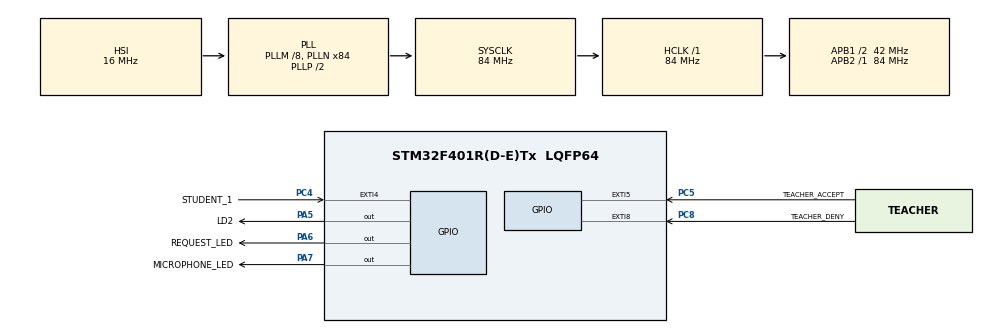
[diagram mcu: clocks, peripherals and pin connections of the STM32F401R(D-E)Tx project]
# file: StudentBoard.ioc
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Mcu.Family=STM32F4
Mcu.Name=STM32F401R(D-E)Tx
Mcu.Package=LQFP64
NVIC.EXTI4_IRQn=true\:0\:0\:false\:false\:true\:true\:true\:true
NVIC.EXTI9_5_IRQn=true\:0\:0\:false\:false\:true\:true\:true\:true
NVIC.PriorityGroup=NVIC_PRIORITYGROUP_4
PA5.GPIO_Label=LD2
PA5.GPIO_PuPd=GPIO_PULLDOWN
PA5.Signal=GPIO_Output
PA6.GPIO_Label=REQUEST_LED
PA6.Signal=GPIO_Output
PA7.GPIO_Label=MICROPHONE_LED
PA7.Signal=GPIO_Output
PC4.GPIO_Label=STUDENT_1
PC4.GPIO_PuPd=GPIO_PULLDOWN
PC4.Signal=GPXTI4
PC5.GPIO_Label=TEACHER_ACCEPT
PC5.GPIO_PuPd=GPIO_PULLDOWN
PC5.Signal=GPXTI5
PC8.GPIO_Label=TEACHER_DENY
PC8.GPIO_PuPd=GPIO_PULLDOWN
PC8.Signal=GPXTI8
ProjectManager.HeapSize=0x200
ProjectManager.StackSize=0x400
ProjectManager.TargetToolchain=STM32CubeIDE
RCC.48MHZClocksFreq_Value=42000000
RCC.AHBFreq_Value=84000000
RCC.APB1CLKDivider=RCC_HCLK_DIV2
RCC.APB1Freq_Value=42000000
RCC.APB1TimFreq_Value=84000000
RCC.APB2Freq_Value=84000000
RCC.APB2TimFreq_Value=84000000
RCC.CortexFreq_Value=84000000
RCC.HCLKFreq_Value=84000000
RCC.HSE_VALUE=25000000
RCC.HSI_VALUE=16000000
RCC.LSE_VALUE=32768
RCC.PLLM=8
RCC.PLLN=84
RCC.SYSCLKFreq_VALUE=84000000
RCC.SYSCLKSource=RCC_SYSCLKSOURCE_PLLCLK
RCC.VCOOutputFreq_Value=168000000
TIM3.AutoReloadPreload=TIM_AUTORELOAD_PRELOAD_ENABLE
TIM3.Period=1
TIM3.Prescaler=41
VP_TIM3_VS_ClockSourceINT.Mode=Internal
board=custom

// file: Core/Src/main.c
/* USER CODE BEGIN Header */
/**
  ******************************************************************************
  * @file           : main.c
  * @brief          : Main program body
  ******************************************************************************
  * @attention
  *
  * Copyright (c) 2024 STMicroelectronics.
  * All rights reserved.
  *
  * This software is licensed under terms that can be found in the LICENSE file
  * in the root directory of this software component.
  * If no LICENSE file comes with this software, it is provided AS-IS.
  *
  ******************************************************************************
  */
/* USER CODE END Header */
#include "main.h"

TIM_HandleTypeDef htim3;

/* USER CODE BEGIN PV */
int student_flag;
int response_flag;
/* USER CODE END PV */

void SystemClock_Config(void);
static void MX_GPIO_Init(void);
static void MX_TIM3_Init(void);

int main(void)
{

  /* USER CODE BEGIN 1 */
	student_flag = 0;
	response_flag = -1; // -`1 when not in use, 0/1 for deny/accept
  /* USER CODE END 1 */

  /* MCU Configuration--------------------------------------------------------*/

  /* Reset of all peripherals, Initializes the Flash interface and the Systick. */
  HAL_Init();

  /* Configure the system clock */
  SystemClock_Config();

  /* Initialize all configured peripherals */
  MX_GPIO_Init();
  MX_TIM3_Init();
  /* USER CODE BEGIN 2 */
  HAL_TIM_PWM_Start(&htim3, TIM_CHANNEL_1);

  /* USER CODE END 2 */

  /* Infinite loop */
  while (1)
  {

    /* USER CODE BEGIN 3 */
	  while (student_flag == 0);

	  HAL_Delay(50);

	  if (student_flag == 1) {
		  if (HAL_GPIO_ReadPin(GPIOC, GPIO_PIN_4) == 1) {
			  HAL_GPIO_WritePin(GPIOA, GPIO_PIN_6, GPIO_PIN_SET);

			  while (response_flag == -1); // wait for teacher response
			  while (response_flag == 1) { // accepted
				  HAL_GPIO_WritePin(GPIOA, GPIO_PIN_7, GPIO_PIN_SET);
			  }
			  HAL_GPIO_WritePin(GPIOA, GPIO_PIN_6, GPIO_PIN_RESET);
			  HAL_GPIO_WritePin(GPIOA, GPIO_PIN_7, GPIO_PIN_RESET);
			  response_flag = -1;
		  }
	  }

	  student_flag = 0;

  }
  /* USER CODE END 3 */
}

void SystemClock_Config(void)
{
  RCC_OscInitTypeDef RCC_OscInitStruct = {0};
  RCC_ClkInitTypeDef RCC_ClkInitStruct = {0};

  /** Configure the main internal regulator output voltage
  */
  __HAL_RCC_PWR_CLK_ENABLE();
  __HAL_PWR_VOLTAGESCALING_CONFIG(PWR_REGULATOR_VOLTAGE_SCALE2);

  /** Initializes the RCC Oscillators according to the specified parameters
  * in the RCC_OscInitTypeDef structure.
  */
  RCC_OscInitStruct.OscillatorType = RCC_OSCILLATORTYPE_HSI;
  RCC_OscInitStruct.HSIState = RCC_HSI_ON;
  RCC_OscInitStruct.HSICalibrationValue = RCC_HSICALIBRATION_DEFAULT;
  RCC_OscInitStruct.PLL.PLLState = RCC_PLL_ON;
  RCC_OscInitStruct.PLL.PLLSource = RCC_PLLSOURCE_HSI;
  RCC_OscInitStruct.PLL.PLLM = 8;
  RCC_OscInitStruct.PLL.PLLN = 84;
  RCC_OscInitStruct.PLL.PLLP = RCC_PLLP_DIV2;
  RCC_OscInitStruct.PLL.PLLQ = 4;
  if (HAL_RCC_OscConfig(&RCC_OscInitStruct) != HAL_OK)
  {
    Error_Handler();
  }

  /** Initializes the CPU, AHB and APB buses clocks
  */
  RCC_ClkInitStruct.ClockType = RCC_CLOCKTYPE_HCLK|RCC_CLOCKTYPE_SYSCLK
                              |RCC_CLOCKTYPE_PCLK1|RCC_CLOCKTYPE_PCLK2;
  RCC_ClkInitStruct.SYSCLKSource = RCC_SYSCLKSOURCE_PLLCLK;
  RCC_ClkInitStruct.AHBCLKDivider = RCC_SYSCLK_DIV1;
  RCC_ClkInitStruct.APB1CLKDivider = RCC_HCLK_DIV2;
  RCC_ClkInitStruct.APB2CLKDivider = RCC_HCLK_DIV1;

  if (HAL_RCC_ClockConfig(&RCC_ClkInitStruct, FLASH_LATENCY_2) != HAL_OK)
  {
    Error_Handler();
  }
}

static void MX_TIM3_Init(void)
{

  TIM_ClockConfigTypeDef sClockSourceConfig = {0};
  TIM_MasterConfigTypeDef sMasterConfig = {0};

  htim3.Instance = TIM3;
  htim3.Init.Prescaler = 41;
  htim3.Init.CounterMode = TIM_COUNTERMODE_UP;
  htim3.Init.Period = 1;
  htim3.Init.ClockDivision = TIM_CLOCKDIVISION_DIV1;
  htim3.Init.AutoReloadPreload = TIM_AUTORELOAD_PRELOAD_ENABLE;
  if (HAL_TIM_Base_Init(&htim3) != HAL_OK)
  {
    Error_Handler();
  }
  sClockSourceConfig.ClockSource = TIM_CLOCKSOURCE_INTERNAL;
  if (HAL_TIM_ConfigClockSource(&htim3, &sClockSourceConfig) != HAL_OK)
  {
    Error_Handler();
  }
  sMasterConfig.MasterOutputTrigger = TIM_TRGO_RESET;
  sMasterConfig.MasterSlaveMode = TIM_MASTERSLAVEMODE_DISABLE;
  if (HAL_TIMEx_MasterConfigSynchronization(&htim3, &sMasterConfig) != HAL_OK)
  {
    Error_Handler();
  }

}

static void MX_GPIO_Init(void)
{
  GPIO_InitTypeDef GPIO_InitStruct = {0};

  /* GPIO Ports Clock Enable */
  __HAL_RCC_GPIOA_CLK_ENABLE();
  __HAL_RCC_GPIOC_CLK_ENABLE();

  /*Configure GPIO pin Output Level */
  HAL_GPIO_WritePin(GPIOA, LD2_Pin|REQUEST_LED_Pin|MICROPHONE_LED_Pin, GPIO_PIN_RESET);

  /*Configure GPIO pin : LD2_Pin */
  GPIO_InitStruct.Pin = LD2_Pin;
  GPIO_InitStruct.Mode = GPIO_MODE_OUTPUT_PP;
  GPIO_InitStruct.Pull = GPIO_PULLDOWN;
  GPIO_InitStruct.Speed = GPIO_SPEED_FREQ_LOW;
  HAL_GPIO_Init(LD2_GPIO_Port, &GPIO_InitStruct);

  /*Configure GPIO pins : REQUEST_LED_Pin MICROPHONE_LED_Pin */
  GPIO_InitStruct.Pin = REQUEST_LED_Pin|MICROPHONE_LED_Pin;
  GPIO_InitStruct.Mode = GPIO_MODE_OUTPUT_PP;
  GPIO_InitStruct.Pull = GPIO_NOPULL;
  GPIO_InitStruct.Speed = GPIO_SPEED_FREQ_LOW;
  HAL_GPIO_Init(GPIOA, &GPIO_InitStruct);

  /*Configure GPIO pins : STUDENT_1_Pin TEACHER_ACCEPT_Pin TEACHER_DENY_Pin */
  GPIO_InitStruct.Pin = STUDENT_1_Pin|TEACHER_ACCEPT_Pin|TEACHER_DENY_Pin;
  GPIO_InitStruct.Mode = GPIO_MODE_IT_RISING;
  GPIO_InitStruct.Pull = GPIO_PULLDOWN;
  HAL_GPIO_Init(GPIOC, &GPIO_InitStruct);

  /* EXTI interrupt init*/
  HAL_NVIC_SetPriority(EXTI4_IRQn, 0, 0);
  HAL_NVIC_EnableIRQ(EXTI4_IRQn);

  HAL_NVIC_SetPriority(EXTI9_5_IRQn, 0, 0);
  HAL_NVIC_EnableIRQ(EXTI9_5_IRQn);

}

/* USER CODE BEGIN 4 */
HAL_GPIO_EXTI_Callback(uint16_t GPIO_Pin) {
	if (GPIO_Pin == STUDENT_1_Pin) {
		student_flag = 1;
	}
	else if (GPIO_Pin == TEACHER_ACCEPT_Pin) {
		response_flag = 1;
	}
	else if (GPIO_Pin == TEACHER_DENY_Pin) {
		response_flag = 0;
	}
}
/* USER CODE END 4 */

void Error_Handler(void)
{
  __disable_irq();
  while (1)
  {
  }
}
